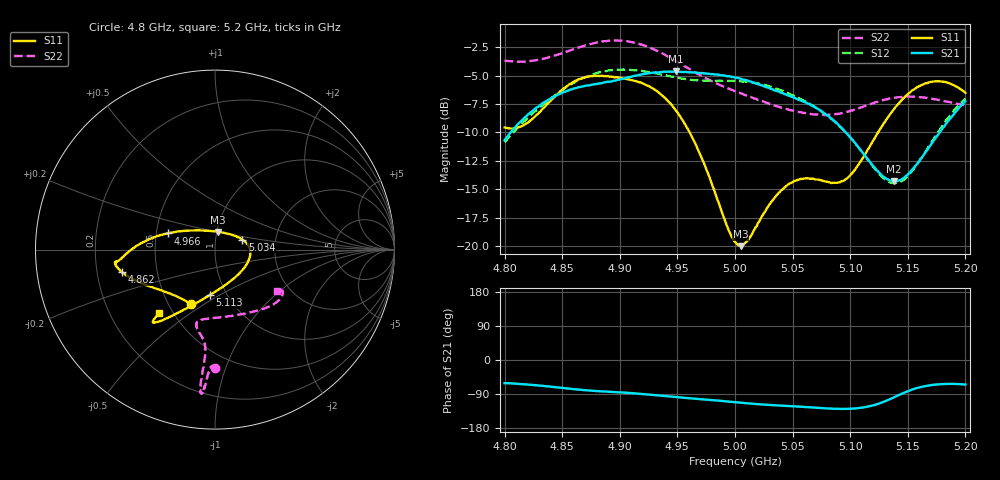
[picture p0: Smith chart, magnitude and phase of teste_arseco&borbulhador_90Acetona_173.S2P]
! Network Analyzer HP8722D
! Hewlett-Packard
! Data name: Linha & Wilkinson
! Saver's name: Rodrigo Anjos
! Comments: Teste da utilização de aquisição
! continua pelo VNA HP8722D
! Time and date: 17/4/2025 12:29
!  Frequency  S11  S21  S12  S22
# HZ  S  MA R 50
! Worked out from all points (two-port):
!   401 points, 4.8 GHz to 5.2 GHz, reference 50 ohm
!   highest |S21| = -4.62 dB at 4.949 GHz (marker M1); lowest = -14.3 dB at 5.138 GHz (marker M2)
!   |S21| within 3 dB of the highest: 4.83 GHz to 5.066 GHz (236 MHz wide, 4.77 % of centre); 5.196322 GHz to end of sweep
!   lowest |S11| = -20.0 dB at 5.005 GHz (marker M3), VSWR 1.22, Z = 50.5 + j10.1 ohm
!   |S11| at or under -10 dB: 4.961 GHz to 5.124 GHz (163.5 MHz wide, 3.24 % of centre)
!   |S22| runs from -8.5 to -1.9 dB; largest |S21 - S12| = 0.88
!   S11 on the Smith chart (normalised r, x): 4.8 GHz: 0.64, -0.44; 4.862 GHz: 0.31, -0.11; 4.966 GHz: 0.57, +0.11; 5.034 GHz: 1.35, +0.15; 5.113 GHz: 0.84, -0.45; 5.2 GHz: 0.42, -0.38
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4.8e9  0.3326 -114.1  0.2923 -61.1  0.2861 -175.4  0.6572 -90.0
4.819e9  0.3472 -134.2  0.3736 -64.4  0.3622 -174.0  0.6512 -91.6
4.862e9  0.5352 -166.6  0.497 -77.4  0.5318 -177.2  0.7435 -94.0
4.867e9  0.548 -168.6  0.5039 -78.9  0.5463 -178.2  0.7581 -94.1
4.9e9  0.5504 -173.2  0.5419 -85.5  0.5973 175.3  0.8038 -95.5
4.934e9  0.4734 -179.3  0.5824 -93.8  0.5734 171.6  0.7168 -96.1
4.949e9  0.3931 173.3  0.5874 -97.9  0.5531 171.9  0.6529 -95.6
4.966e9  0.279 161.2  0.5806 -102.2  0.5382 173.6  0.5798 -95.2
5e9  0.1044 98.7  0.552 -111.5  0.5357 175.8  0.4808 -99.6
5.005e9  0.09972 81.2  0.5443 -112.6  0.5322 176.0  0.4699 -100.7
5.013e9  0.1088 56.4  0.5315 -114.9  0.5267 175.7  0.4549 -102.4
5.034e9  0.1621 20.1  0.4854 -119.3  0.4984 174.7  0.4156 -103.9
5.05e9  0.191 4.0  0.4542 -122.2  0.4616 173.8  0.3947 -99.6
5.067e9  0.1982 -14.2  0.4144 -125.3  0.4175 173.4  0.3811 -91.0
5.093e9  0.1929 -58.6  0.3293 -128.9  0.3282 173.9  0.3848 -70.6
5.113e9  0.2538 -96.1  0.2491 -124.5  0.2487 -179.9  0.4144 -55.1
5.134e9  0.3768 -117.4  0.1951 -103.9  0.1907 -156.9  0.4462 -43.2
5.138e9  0.4012 -119.7  0.1924 -98.5  0.1891 -150.6  0.4495 -41.3
5.151e9  0.4711 -125.4  0.2087 -81.2  0.2061 -130.6  0.4554 -36.6
5.17e9  0.528 -129.7  0.2788 -66.3  0.2841 -112.6  0.4466 -32.2
5.184e9  0.5248 -131.0  0.3503 -63.2  0.3618 -107.4  0.4328 -31.3
5.2e9  0.4727 -131.4  0.4344 -64.7  0.4464 -106.7  0.4165 -33.6
